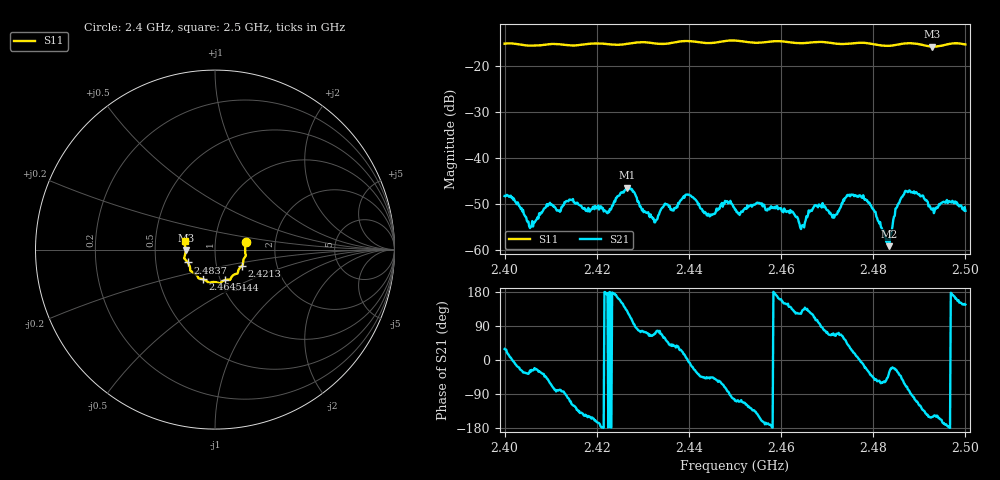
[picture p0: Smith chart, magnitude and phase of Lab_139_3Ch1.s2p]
# Hz S RI R 50
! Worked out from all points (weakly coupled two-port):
!   601 points, 2.4 GHz to 2.5 GHz, reference 50 ohm
!   highest |S21| = -46.48 dB at 2.4265 GHz (marker M1); lowest = -59.2 dB at 2.4835 GHz (marker M2)
!   lowest |S11| = -15.7 dB at 2.4928 GHz (marker M3), VSWR 1.39, Z = 35.9 - j0.369 ohm
!   |S11| at or under -10 dB: start of sweep to end of sweep
!   S12 and S22 are empty: the file has one direction only
!   S11 on the Smith chart (normalised r, x): 2.4 GHz: 1.41, +0.12; 2.4213 GHz: 1.33, -0.25; 2.444 GHz: 1.06, -0.37; 2.4645 GHz: 0.83, -0.29; 2.4837 GHz: 0.73, -0.11; 2.5 GHz: 0.71, +0.07
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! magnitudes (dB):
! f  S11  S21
! 2.4 GHz  -15.1  -48.3
! 2.4057 GHz  -15.5  -55.1
! 2.4097 GHz  -15.2  -50.1
! 2.4167 GHz  -15.3  -50.5
! 2.4213 GHz  -15.1  -50.9
! 2.4265 GHz  -15.1  -46.5
! 2.4333 GHz  -15.1  -52.5
! 2.4397 GHz  -14.5  -48.0
! 2.444 GHz  -15.0  -52.6
! 2.45 GHz  -14.4  -51.2
! 2.4595 GHz  -14.5  -51.0
! 2.4645 GHz  -15.0  -54.7
! 2.4667 GHz  -14.8  -51.5
! 2.4717 GHz  -15.0  -52.5
! 2.4775 GHz  -14.9  -48.6
! 2.4833 GHz  -15.5  -58.3
! 2.4835 GHz  -15.5  -59.2
! 2.4837 GHz  -15.5  -57.0
! 2.4853 GHz  -15.3  -50.2
! 2.4873 GHz  -15.0  -47.3
! 2.4928 GHz  -15.7  -51.3
! 2.5 GHz  -15.3  -51.5
